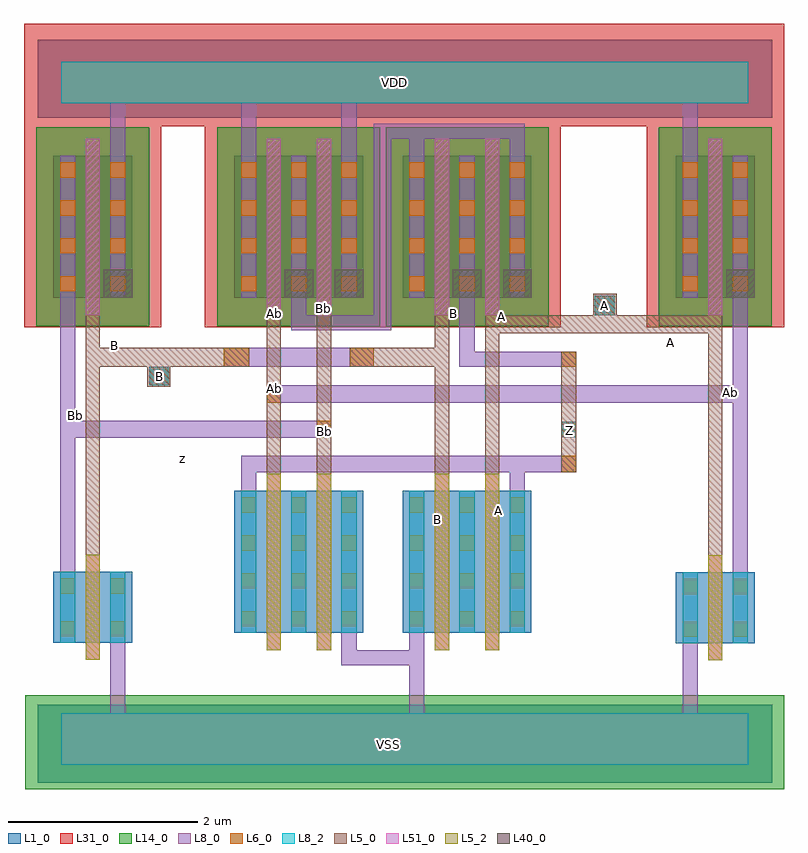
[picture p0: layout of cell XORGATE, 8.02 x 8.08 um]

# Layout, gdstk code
from math import pi, radians
import gdstk
lib = gdstk.Library(unit=1e-6, precision=5e-09)
def R(c, l, rs):  # rectangles x0, y0, x1, y1
    for r in rs: c.add(gdstk.rectangle(r[:2], r[2:], *l))
def A(c, l, x, y, w, h, nx, ny, dx, dy):  # array of equal rectangles
    R(c, l, [(x+i*dx, y+j*dy, x+i*dx+w, y+j*dy+h) for i in range(nx) for j in range(ny)])
def P(c, l, *ps):  # polygons
    for p in ps: c.add(gdstk.Polygon(p, *l))
L1_0 = (1, 0)
L5_0 = (5, 0)
L5_2 = (5, 2)
L6_0 = (6, 0)
L8_0 = (8, 0)
L8_2 = (8, 2)
L14_0 = (14, 0)
L31_0 = (31, 0)
L40_0 = (40, 0)
L51_0 = (51, 0)

pmos_1 = lib.new_cell('pmos$1')
R(pmos_1, L1_0, [(0,0,0.3,0.3), (0,0,0.83,1.5), (0.53,0,0.83,0.3)])
R(pmos_1, L5_0, [(0.34,-0.18,0.49,1.68), (0.34,-0.18,0.49,1.68)])
A(pmos_1, L6_0, 0.07, 0.07, 0.16, 0.16, 1, 4, 0, 0.4)
A(pmos_1, L6_0, 0.6, 0.07, 0.16, 0.16, 1, 4, 0, 0.4)
R(pmos_1, L8_0, [(0.07,0,0.23,1.5), (0.07,0,0.23,1.5), (0.6,0,0.76,1.5), (0.6,0,0.76,1.5)])
R(pmos_1, L14_0, [(-0.18,-0.3,1.01,1.8)])
R(pmos_1, L31_0, [(-0.31,-0.31,1.14,1.81)])
R(pmos_1, L40_0, [(0.53,0,0.83,0.3)])
R(pmos_1, L51_0, [(0.34,-0.18,0.49,1.68)])
pmos_1.add(gdstk.Label('pmos', (0.415,0.75), layer=63, texttype=0))
pmos_1.add(gdstk.Label('pmos', (0.415,0.75), layer=51, texttype=0))

nmos = lib.new_cell('nmos')
R(nmos, L1_0, [(0,0,0.3,0.3), (0,0,0.83,0.75), (0.53,0,0.83,0.3)])
R(nmos, L5_0, [(0.34,-0.18,0.49,0.93)])
R(nmos, L5_2, [(0.34,-0.18,0.49,0.93)])
R(nmos, L6_0, [(0.07,0.07,0.23,0.23), (0.6,0.07,0.76,0.23), (0.07,0.52,0.23,0.68), (0.6,0.52,0.76,0.68)])
R(nmos, L8_0, [(0.07,0,0.23,0.75), (0.6,0,0.76,0.75)])
R(nmos, L8_2, [(0.07,0,0.23,0.75), (0.6,0,0.76,0.75)])
R(nmos, L51_0, [(0.34,-0.18,0.49,0.93)])
nmos.add(gdstk.Label('nmos', (0.415,0.375), layer=63, texttype=0))
nmos.add(gdstk.Label('nmos', (0.415,0.375), layer=51, texttype=0))

nmos_1 = lib.new_cell('nmos$1')
R(nmos_1, L1_0, [(0,0,0.3,0.3), (0,0,0.83,1.5), (0.53,0,0.83,0.3)])
R(nmos_1, L5_0, [(0.34,-0.18,0.49,1.68)])
R(nmos_1, L5_2, [(0.34,-0.18,0.49,1.68)])
A(nmos_1, L6_0, 0.07, 0.07, 0.16, 0.16, 1, 4, 0, 0.4)
A(nmos_1, L6_0, 0.6, 0.07, 0.16, 0.16, 1, 4, 0, 0.4)
R(nmos_1, L8_0, [(0.07,0,0.23,1.5), (0.6,0,0.76,1.5)])
R(nmos_1, L8_2, [(0.07,0,0.23,1.5), (0.6,0,0.76,1.5)])
R(nmos_1, L51_0, [(0.34,-0.18,0.49,1.68)])
nmos_1.add(gdstk.Label('nmos', (0.415,0.75), layer=63, texttype=0))
nmos_1.add(gdstk.Label('nmos', (0.415,0.75), layer=51, texttype=0))

xorgate = lib.new_cell('XORGATE')
R(xorgate, L1_0, [(-19.85,3.795,-12.1,4.62), (-19.85,10.81,-12.1,11.635)])
R(xorgate, L5_0, [(-16.905,7.05,-16.755,8.73), (-17.435,7.055,-17.285,8.73)])
P(xorgate, L5_0, [(-12.775,6.195),(-12.775,8.54),(-14.98,8.54),(-14.98,7.055),(-15.13,7.055),(-15.13,8.73),(-14.98,8.73),(-13.99,8.73),(-13.99,8.955),(-13.74,8.955),(-13.74,8.73),(-12.775,8.73),(-12.625,8.73),(-12.625,6.195)],
  [(-15.13,7.07),(-15.13,7.46),(-15.13,8.385)],
  [(-14.325,7.07),(-14.325,8.265),(-14.325,8.345),(-14.165,8.345),(-14.165,8.265),(-14.165,7.07)],
  [(-15.66,7.055),(-15.66,8.185),(-16.56,8.185),(-16.56,8.385),(-15.66,8.385),(-15.66,8.73),(-15.51,8.73),(-15.51,7.055)],
  [(-19.345,6.2),(-19.345,8.73),(-19.195,8.73),(-19.195,8.385),(-17.62,8.385),(-17.62,8.185),(-18.45,8.185),(-18.45,7.975),(-18.695,7.975),(-18.695,8.185),(-19.195,8.185),(-19.195,6.2)])
R(xorgate, L6_0, [(-19.6,3.985,-12.35,4.53), (-14.325,7.07,-14.165,7.245), (-16.905,7.435,-16.755,7.615), (-14.325,7.44,-14.165,7.605), (-17.435,7.805,-17.285,7.99), (-18.675,7.99,-18.47,8.185), (-17.885,8.185,-17.62,8.385), (-16.56,8.185,-16.305,8.385), (-14.325,8.185,-14.165,8.345), (-13.97,8.73,-13.76,8.935), (-19.6,10.965,-12.35,11.405)])
R(xorgate, L8_0, [(-14.325,7.44,-14.165,7.605), (-18.675,7.99,-18.47,8.185), (-17.885,8.185,-16.305,8.385), (-13.97,8.73,-13.76,8.935)])
P(xorgate, L8_0, [(-17.705,6.875),(-17.705,7.245),(-14.165,7.245),(-14.165,7.07),(-14.71,7.07),(-14.71,6.875),(-14.87,6.875),(-14.87,7.07),(-17.545,7.07),(-17.545,6.875)],
  [(-19.6,3.985),(-19.6,4.53),(-19.085,4.53),(-19.085,5.27),(-18.925,5.27),(-18.925,4.53),(-15.93,4.53),(-15.93,5.035),(-16.645,5.035),(-16.645,5.435),(-16.485,5.435),(-16.485,5.195),(-15.93,5.195),(-15.93,5.375),(-15.77,5.375),(-15.77,4.53),(-13.045,4.53),(-13.045,5.265),(-12.885,5.265),(-12.885,4.53),(-12.35,4.53),(-12.35,3.985)],
  [(-19.085,10.405),(-19.085,10.965),(-19.6,10.965),(-19.6,11.405),(-12.35,11.405),(-12.35,10.965),(-12.885,10.965),(-12.885,10.41),(-13.045,10.41),(-13.045,10.965),(-16.485,10.965),(-16.485,10.41),(-16.645,10.41),(-16.645,10.965),(-17.545,10.965),(-17.545,10.41),(-17.705,10.41),(-17.705,10.965),(-18.925,10.965),(-18.925,10.405)],
  [(-15.4,8.185),(-15.4,8.91),(-15.24,8.91),(-15.24,8.345),(-14.87,8.345),(-14.71,8.345),(-14.165,8.345),(-14.165,8.185),(-14.71,8.185)],
  [(-17.175,8.57),(-17.175,8.91),(-17.015,8.91),(-17.015,8.73),(-16.305,8.73),(-16.305,10.75),(-14.71,10.75),(-14.71,10.41),(-14.87,10.41),(-14.87,10.455),(-14.87,10.59),(-15.77,10.59),(-15.77,10.41),(-15.93,10.41),(-15.93,10.59),(-16.12,10.59),(-16.12,8.57)],
  [(-12.515,6.015),(-12.515,7.805),(-17.435,7.805),(-17.435,7.99),(-12.515,7.99),(-12.515,8.91),(-12.355,8.91),(-12.355,6.35),(-12.355,6.015)],
  [(-19.615,6.02),(-19.615,8.91),(-19.455,8.91),(-19.455,7.615),(-16.755,7.615),(-16.755,7.435),(-19.455,7.435),(-19.455,6.605),(-19.455,6.02)])
R(xorgate, L8_2, [(-19.6,3.985,-12.35,4.53), (-14.325,7.44,-14.165,7.605), (-18.675,7.99,-18.47,8.185), (-13.97,8.73,-13.76,8.935), (-19.6,10.965,-12.35,11.405)])
R(xorgate, L14_0, [(-19.98,3.725,-11.975,4.72)])
R(xorgate, L31_0, [(-19.995,10.72,-11.975,11.805)])
xorgate.add(gdstk.Reference(pmos_1, (-19.685,8.91)))
xorgate.add(gdstk.Reference(pmos_1, (-17.775,8.91)))
xorgate.add(gdstk.Reference(pmos_1, (-17.245,8.91)))
xorgate.add(gdstk.Reference(pmos_1, (-15.47,8.91)))
xorgate.add(gdstk.Reference(pmos_1, (-16,8.91)))
xorgate.add(gdstk.Reference(nmos, (-12.285,6.015), rotation=pi))
xorgate.add(gdstk.Reference(nmos_1, (-17.245,5.375)))
xorgate.add(gdstk.Reference(nmos_1, (-17.775,5.375)))
xorgate.add(gdstk.Reference(nmos_1, (-15.47,5.375)))
xorgate.add(gdstk.Reference(nmos_1, (-16,5.375)))
xorgate.add(gdstk.Reference(nmos, (-18.855,6.02), rotation=pi))
xorgate.add(gdstk.Reference(pmos_1, (-13.115,8.91)))
xorgate.add(gdstk.Label('VDD', (-16.09,11.185), layer=8, texttype=2))
xorgate.add(gdstk.Label('VSS', (-16.145,4.195), layer=8, texttype=2))
xorgate.add(gdstk.Label('B', (-18.57,8.08), layer=8, texttype=2))
xorgate.add(gdstk.Label('A', (-13.87,8.83), layer=8, texttype=2))
xorgate.add(gdstk.Label('Z', (-14.24,7.515), layer=8, texttype=2))
xorgate.add(gdstk.Label('Ab', (-17.355,7.96), layer=63, texttype=0))
xorgate.add(gdstk.Label('Bb', (-16.82,7.505), layer=63, texttype=0))
xorgate.add(gdstk.Label('A', (-14.985,6.665), layer=63, texttype=0))
xorgate.add(gdstk.Label('B', (-15.63,6.57), layer=63, texttype=0))
xorgate.add(gdstk.Label('z', (-18.325,7.215), layer=63, texttype=0))
xorgate.add(gdstk.Label('A', (-13.175,8.44), layer=63, texttype=0))
xorgate.add(gdstk.Label('Bb', (-19.45,7.67), layer=63, texttype=0))
xorgate.add(gdstk.Label('B', (-19.04,8.41), layer=63, texttype=0))
xorgate.add(gdstk.Label('B', (-15.465,8.745), layer=63, texttype=0))
xorgate.add(gdstk.Label('A', (-14.955,8.71), layer=63, texttype=0))
xorgate.add(gdstk.Label('Ab', (-12.535,7.915), layer=63, texttype=0))
xorgate.add(gdstk.Label('Bb', (-16.83,8.795), layer=63, texttype=0))
xorgate.add(gdstk.Label('Ab', (-17.35,8.75), layer=63, texttype=0))

lib.write_gds('XORGATE.gds')
